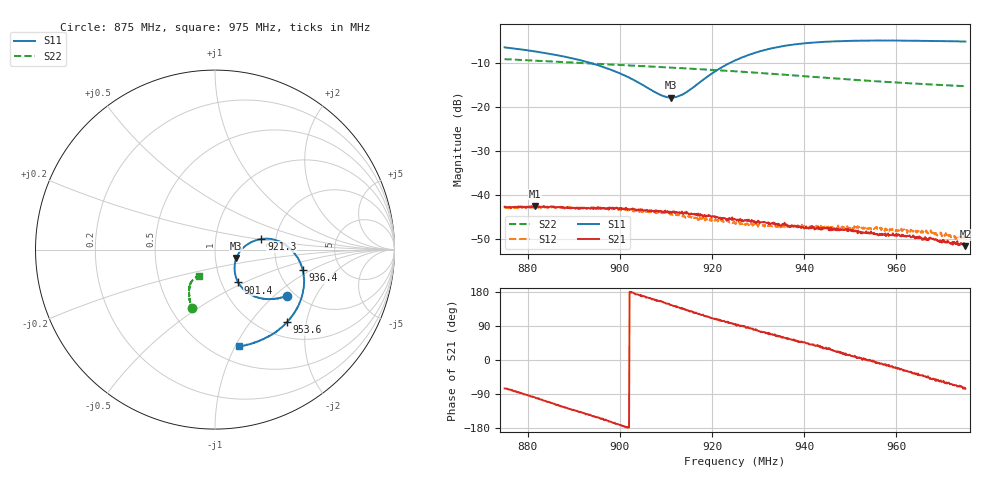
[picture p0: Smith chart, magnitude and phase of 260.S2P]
! C:\Users\rflab\Downloads\Lab5_KD_ZW\Q3\260.S2P
! Touchstone 1.1 file saved by VNA.EXE V1.65 (www.ke5fx.com/gpib/readme.htm)
! 11/18/2024 10:36:12 PM
!  Source: HEWLETT PACKARD,8753D,0,6.14
!  Min freq: 8.750000E+008 Hz
!  Max freq: 9.750200E+008 Hz
!  Points: 801
!  Params: S11 S21 S12 S22
# GHZ S MA R 50
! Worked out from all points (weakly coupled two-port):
!   801 points, 875 MHz to 975 MHz, reference 50 ohm
!   highest |S21| = -42.51 dB at 881.5 MHz (marker M1); lowest = -51.7 dB at 975 MHz (marker M2)
!   lowest |S11| = -17.9 dB at 911.1 MHz (marker M3), VSWR 1.29, Z = 63.2 - j6.03 ohm
!   |S11| at or under -10 dB: 893.7 MHz to 923.9 MHz (30.16 MHz wide, 3.32 % of centre)
!   |S22| runs from -15.3 to -9.1 dB; largest |S21 - S12| = 0.0015
!   S11 on the Smith chart (normalised r, x): 875 MHz: 1.82, -1.21; 901.4 MHz: 1.20, -0.46; 921.3 MHz: 1.68, +0.21; 936.4 MHz: 2.73, -0.84; 953.6 MHz: 1.30, -1.55; 975 MHz: 0.67, -1.04
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0.875  0.477 -32.7  0.007299 -75.0  0.007151 -63.1  0.3501 -111.3
0.8815013  0.4285 -39.7  0.007491 -98.5  0.007198 -89.6  0.3373 -113.3
0.8917534  0.3377 -50.1  0.007127 -138.3  0.007121 -130.8  0.317 -116.2
0.8970044  0.2783 -54.0  0.007011 -158.6  0.007003 -153.0  0.3064 -117.6
0.9013803  0.2241 -54.8  0.007146 -177.5  0.006799 -170.9  0.2981 -118.7
0.9083817  0.1408 -38.9  0.006537 155.9  0.006378 161.9  0.286 -120.5
0.9111322  0.1279 -21.5  0.006298 145.3  0.006145 150.3  0.2802 -121.0
0.9126325  0.1318 -11.0  0.006316 139.1  0.00594 144.5  0.2783 -121.4
0.9141328  0.1436 -1.8  0.006347 133.2  0.005659 139.0  0.275 -121.9
0.9212592  0.2653 12.9  0.005567 106.1  0.004994 112.8  0.261 -123.4
0.92501  0.3389 9.1  0.005292 93.6  0.004801 104.2  0.255 -124.3
0.9305111  0.4325 -0.8  0.004841 74.4  0.004512 86.0  0.244 -125.0
0.9363873  0.5021 -13.2  0.004501 57.9  0.004332 72.6  0.2317 -125.9
0.9417633  0.5395 -24.1  0.004397 40.3  0.004404 54.6  0.2213 -126.2
0.9495149  0.5647 -38.3  0.004138 14.1  0.004184 27.4  0.2064 -126.0
0.9517653  0.5664 -42.0  0.003922 5.8  0.004237 20.2  0.2025 -125.8
0.9536407  0.5693 -45.0  0.003666 -0.6  0.004166 14.1  0.1994 -125.6
0.9561412  0.571 -49.0  0.003451 -7.8  0.004169 3.0  0.1956 -125.3
0.9583917  0.5712 -52.6  0.003411 -12.7  0.004048 -4.6  0.1921 -125.1
0.9676435  0.5634 -65.8  0.003194 -50.2  0.003717 -43.0  0.1805 -123.4
0.9693939  0.5624 -68.1  0.002902 -56.8  0.00362 -48.3  0.1782 -122.9
0.97502  0.5555 -75.8  0.00261 -75.9  0.003191 -70.4  0.1723 -121.7
